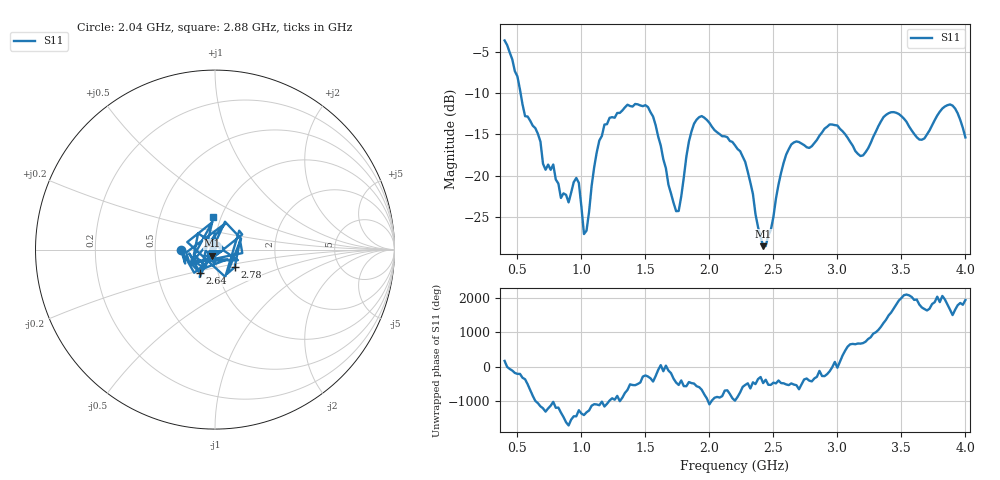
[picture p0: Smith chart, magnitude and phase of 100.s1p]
!Created with skrf (http://scikit-rf.org).
# Hz S RI R 50.0
!freq ReS11 ImS11
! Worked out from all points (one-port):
!   181 points, 400 MHz to 4 GHz, reference 50 ohm
!   lowest |S11| = -28.6 dB at 2.42 GHz (marker M1), VSWR 1.08, Z = 48.5 - j3.34 ohm
!   |S11| at or under -10 dB: 525 MHz to end of sweep
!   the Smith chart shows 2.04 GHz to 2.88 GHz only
!   S11 on the Smith chart (normalised r, x): 2.04 GHz: 0.68, -0.00; 2.64 GHz: 0.82, -0.22; 2.78 GHz: 1.22, -0.24; 2.88 GHz: 0.92, +0.35
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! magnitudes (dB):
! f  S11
! 400 MHz  -3.6
! 700 MHz  -18.6
! 780 MHz  -18.6
! 860 MHz  -22.1
! 900 MHz  -23.2
! 960 MHz  -20.3
! 1.02 GHz  -27.1
! 1.04 GHz  -26.7
! 1.14 GHz  -15.7
! 1.3 GHz  -12.4
! 1.52 GHz  -11.7
! 1.76 GHz  -24.3
! 1.88 GHz  -13.7
! 2.04 GHz  -14.5
! 2.2 GHz  -16.3
! 2.28 GHz  -18.3
! 2.42 GHz  -28.6
! 2.64 GHz  -16.2
! 2.66 GHz  -16.0
! 2.78 GHz  -16.6
! 2.88 GHz  -14.8
! 3.1 GHz  -15.9
! 3.2 GHz  -17.5
! 3.42 GHz  -12.3
! 3.56 GHz  -14.0
! 3.68 GHz  -15.5
! 3.88 GHz  -11.4
! 4 GHz  -15.4
